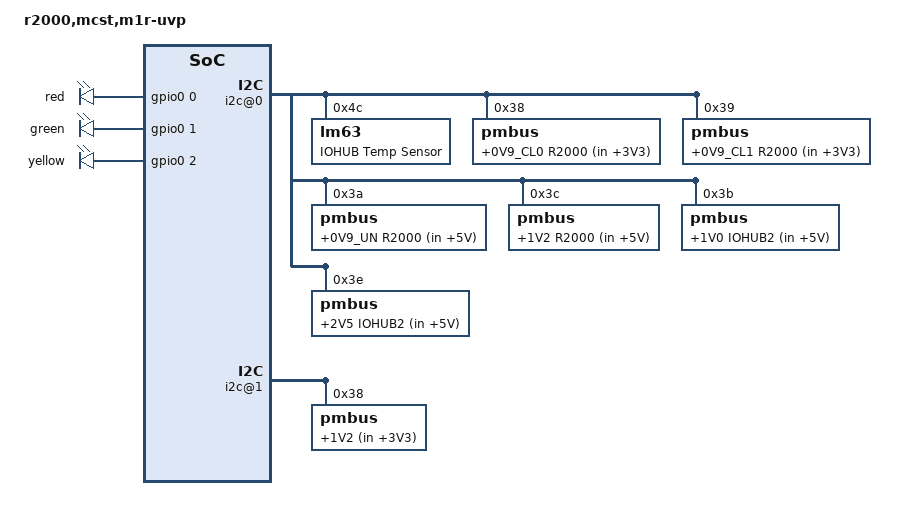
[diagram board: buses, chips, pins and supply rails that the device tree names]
/*
 * M1R-UVP
 * TVGI.469555.384 ver.1
 * (UVM_KMI)
 */
/dts-v1/;

/ {
	/* version = ""; */
	model = "r2000,mcst,m1r-uvp";
	compatible = "mcst,m1r-uvp";
	#address-cells = <1>;
	#size-cells = <0>;

	/* IOHUB2 I2C */
	l_i2c@0 {
		#address-cells = <1>;
		#size-cells = <0>;
		reg = <0>;
		compatible = "l_i2c";
		label = "iohub2 i2c";

		i2c@0 {
			#address-cells = <1>;
			#size-cells = <0>;
			reg = <0>;

			lm96163@4c {
				/* hwmon/lm63.ko (DD19:LM96163CISD) */
				compatible = "lm63";
				reg = <0x4c>;
				label = "IOHUB Temp Sensor";

				temp1_label = "Internal Temp";
				temp2_label = "IOHUB Temp";
				/* no fan control */
			};

			/* config SENSORS_PMBUS */
			pndt012@38 {
				/* hwmon/pmbus/pmbus.ko (DA1:PNDT012A0X3-SRZ) */
				compatible = "pmbus";
				reg = <0x38>;
				label = "+0V9_CL0 R2000 (in +3V3)";
			};
			pndt012@39 {
				/* hwmon/pmbus/pmbus.ko (DA2:PNDT012A0X3-SRZ) */
				compatible = "pmbus";
				reg = <0x39>;
				label = "+0V9_CL1 R2000 (in +3V3)";
			};
			pndt012@3A {
				/* hwmon/pmbus/pmbus.ko (DA3:PNDT012A0X3-SRZ) */
				compatible = "pmbus";
				reg = <0x3A>;
				label = "+0V9_UN R2000 (in +5V)";
			};
			pndt006@3C {
				/* hwmon/pmbus/pmbus.ko (DA5:PNDT006A0X3-SRZ) */
				compatible = "pmbus";
				reg = <0x3C>;
				label = "+1V2 R2000 (in +5V)";
			};
			pndt012@3B {
				/* hwmon/pmbus/pmbus.ko (DA4:PNDT012A0X3-SRZ) */
				compatible = "pmbus";
				reg = <0x3B>;
				label = "+1V0 IOHUB2 (in +5V)";
			};
			pndt006@3E {
				/* hwmon/pmbus/pmbus.ko (DA6:PNDT006A0X3-SRZ) */
				compatible = "pmbus";
				reg = <0x3E>;
				label = "+2V5 IOHUB2 (in +5V)";
			};
		};
		i2c@1 {
			#address-cells = <1>;
			#size-cells = <0>;
			reg = <1>;

			pndt006@38 {
				/* hwmon/pmbus/pmbus.ko (PK-UVP:DA2:PNDT006A0X3-SRZ) */
				compatible = "pmbus";
				reg = <0x38>;
				label = "+1V2 (in +3V3)";
			};

			/* KSZ9896CTX@64 from PK-UVP:I2C_1 (M2E:i2c@1) */
			/*
			 * reg = <0x64>;
			 * DD2:KSZ9896CTX) "Ethernet Switch" ?@5F
			 */

			/* TODO: (DD3:NH82580EB) "Ethernet 0" */
		};
		i2c@2 {
			#address-cells = <1>;
			#size-cells = <0>;
			reg = <2>;

			/* KSZ9896CTX@64 from PK-UVP:I2C_2 (M2E:i2c@2) */
			/*
			 * reg = <0x64>;
			 * DD1:KSZ9896CTX) "Ethernet Switch" ?@5F
			 */

			/* TODO: (DD4:NH82580EB) "Ethernet 1" */
		};
		i2c@3 {
			#address-cells = <1>;
			#size-cells = <0>;
			reg = <3>;

			/* empty */
		};
	};

	/* IOHUB2 SPI */
	l_spi@0 {
		#address-cells = <1>;
		#size-cells = <0>;
		compatible = "l_spi";
		reg = <0>;
		label = "iohub2 spi";

		boot@0 {
			/* (DD21:S25FL128SAGNFI001) */
			compatible = "mcst,boot";
			reg = <0>;
			spi-max-frequency = <25000000>;
		};
		rtc-cy14b101p@1 {
			/* (DD20:CY14B101PA-SFXI) */
			compatible = "rtc-cy14b101p";
			reg = <1>;
			spi-max-frequency = <12500000>;
		};
	};

	/* IOHUB2 GPIO */
	gpio0:l_gpio@0 {
		compatible = "mcst,gpio";
		reg = <0x0>;
		label = "L-GPIO";
		gpio-controller;
		ngpios = <32>;
		#gpio-cells = <2>;

		gpio-line-names =
			/*  0.. 3 */ "LED_RED", "LED_GRN", "LED_YLW", "M2_RST",
			/*  4.. 7 */ "GA0", "GA1", "nc", "nc",
			/*  8..11 */ "nc", "nc", "nc", "nc",
			/* 12..15 */ "nc", "nc", "nc", "nc",
			/* 16..19 */ "nc", "I2C_0_ALERTn", "nc", "nc",
			/* 20..23 */ "nc", "nc", "nc", "nc",
			/* 24..27 */ "nc", "nc", "nc", "nc",
			/* 28..31 */ "nc", "nc", "nc", "nc";
	};

	gpio_leds {
		compatible = "gpio-leds";

		pwm_r_led {
			gpios = <&gpio0 0 0>; /* LED_RED */
			linux,default-trigger = "none";
			default-state = "off";
			label = "red";
		};
		pwm_g_led {
			gpios = <&gpio0 1 0>; /* LED_GRN */
			linux,default-trigger = "none";
			default-state = "on";
			label = "green";
		};
		tpad_off_led {
			gpios = <&gpio0 2 0>; /* LED_YLW */
			linux,default-trigger = "none";
			default-state = "off";
			label = "yellow";
		};
	};
};
